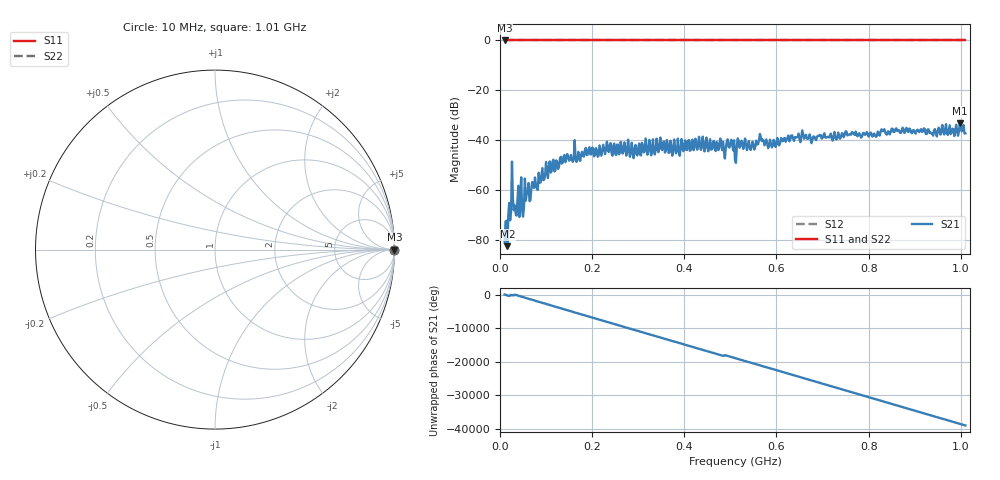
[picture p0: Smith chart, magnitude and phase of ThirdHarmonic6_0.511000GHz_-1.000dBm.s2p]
! 8/15/2025 3:34:59 PM
! C:\ANRITSUVNA\TEMP\TEMP.S2P
! CHANNEL.1
! TR.MEASUREMENT
! RAW.DATA
! RF.CORRECTION.OFF
! AVERAGING.OFF
! IF.BANDWIDTH: 5KHZ
! SWEEPTYPE:  FREQ.SWEEP(Linear)
! Reference Plane Port Info
! PORT:  PORT1  PORT2
! DISTANCE:  0  m  0  m
! TIME:  0  s  0  s
! PHASE.OFFSET:  0  deg.  0  deg.
! LOSS:  0  dB  0  dB
! REF.LOSS:  0  dB  0  dB
! REF.FREQ:  0  Hz  0  Hz
! Power Info
! POWER:  -20  dBm  -20  dBm
! EFF.POWER:  -20  dBm  -20  dBm
! SOURCE.ATTEN:  0  dB  0  dB
! TEST.ATTEN:  0  dB  0  dB
# GHZ S RI R 50.0
! FREQ.GHZ  S11RE  S11IM  S21RE  S21IM  S12RE  S12IM  S22RE  S22IM
!; PortSelection: Port_12
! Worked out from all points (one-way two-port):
!   501 points, 10 MHz to 1.01 GHz, reference 50 ohm
!   highest |S21| = -33.19 dB at 998 MHz (marker M1); lowest = -82.3 dB at 16 MHz (marker M2)
!   lowest |S11| = 0.0 dB at 10 MHz (marker M3)
!   |S11| at or under -10 dB: nowhere
!   |S22| runs from 0.0 to 0.0 dB; largest |S21 - S12| = 1
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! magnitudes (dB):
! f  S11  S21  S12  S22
! 10 MHz  0.0  -80.9  0.0  0.0
! 16 MHz  0.0  -82.3  0.0  0.0
! 20 MHz  0.0  -65.0  0.0  0.0
! 24 MHz  0.0  -68.5  0.0  0.0
! 30 MHz  0.0  -67.9  0.0  0.0
! 34 MHz  0.0  -69.3  0.0  0.0
! 42 MHz  0.0  -70.6  0.0  0.0
! 52 MHz  0.0  -66.8  0.0  0.0
! 58 MHz  0.0  -61.3  0.0  0.0
! 68 MHz  0.0  -59.2  0.0  0.0
! 104 MHz  0.0  -55.0  0.0  0.0
! 178 MHz  0.0  -44.6  0.0  0.0
! 344 MHz  0.0  -44.7  0.0  0.0
! 498 MHz  0.0  -42.9  0.0  0.0
! 510 MHz  0.0  -47.8  0.0  0.0
! 520 MHz  0.0  -42.9  0.0  0.0
! 548 MHz  0.0  -40.5  0.0  0.0
! 566 MHz  0.0  -38.6  0.0  0.0
! 678 MHz  0.0  -39.6  0.0  0.0
! 844 MHz  0.0  -36.6  0.0  0.0
! 998 MHz  0.0  -33.2  0.0  0.0
! 1.01 GHz  0.0  -37.2  0.0  0.0
